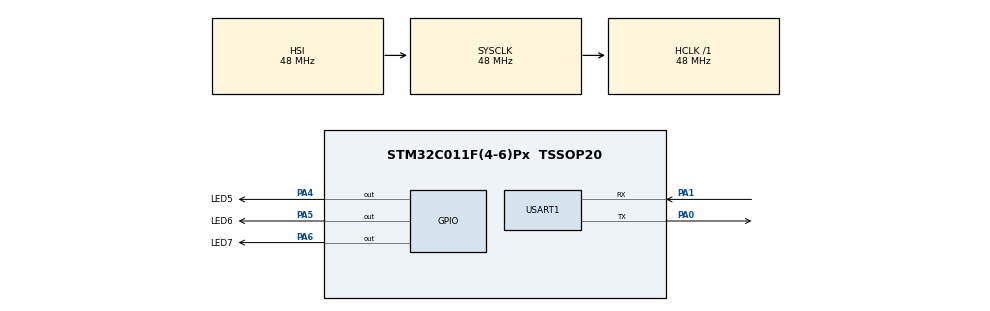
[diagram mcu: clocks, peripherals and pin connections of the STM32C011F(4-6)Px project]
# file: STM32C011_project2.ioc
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Mcu.Family=STM32C0
Mcu.Name=STM32C011F(4-6)Px
Mcu.Package=TSSOP20
PA0.Mode=Asynchronous
PA0.Signal=USART1_TX
PA1.Mode=Asynchronous
PA1.Signal=USART1_RX
PA4.GPIO_Label=LED5
PA4.Signal=GPIO_Output
PA5.GPIO_Label=LED6
PA5.Signal=GPIO_Output
PA6.GPIO_Label=LED7
PA6.Signal=GPIO_Output
ProjectManager.HeapSize=0x400
ProjectManager.StackSize=0x800
ProjectManager.TargetToolchain=MDK-ARM V5.37
RCC.ADCFreq_Value=48000000
RCC.AHBFreq_Value=48000000
RCC.CortexFreq_Value=48000000
RCC.EXTERNAL_CLOCK_VALUE=12288000
RCC.HCLKFreq_Value=48000000
RCC.HSE_VALUE=8000000
RCC.HSISYSCLKDivider=RCC_HSI_DIV1
RCC.HSI_VALUE=48000000
RCC.LSE_VALUE=32768
RCC.SYSCLKFreq_VALUE=48000000
USART1.VirtualMode-Asynchronous=VM_ASYNC
board=custom

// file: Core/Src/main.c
/* USER CODE BEGIN Header */
/**
  ******************************************************************************
  * @file           : main.c
  * @brief          : Main program body
  ******************************************************************************
  * @attention
  *
  * Copyright (c) 2024 STMicroelectronics.
  * All rights reserved.
  *
  * This software is licensed under terms that can be found in the LICENSE file
  * in the root directory of this software component.
  * If no LICENSE file comes with this software, it is provided AS-IS.
  *
  ******************************************************************************
  */
/* USER CODE END Header */
#include "main.h"
#include "usart.h"
#include "gpio.h"

/* USER CODE BEGIN Includes */
#include "stdio.h"
#include "stm32c0xx_hal.h"
/* USER CODE END Includes */

void SystemClock_Config(void);
/* USER CODE BEGIN PFP */
int fputc(int ch, FILE *f){
	HAL_UART_Transmit(&huart1 , (uint8_t *)&ch, 1, 0xFFFF);
	return ch;
}
/* USER CODE END PFP */

/* USER CODE BEGIN 0 */

static void Configure_nBOOT_SEL(uint8_t enable)
{
   FLASH_OBProgramInitTypeDef OBInit;

    // 读取当前 Option Bytes 配置
    HAL_FLASHEx_OBGetConfig(&OBInit);

    // 检查是否需要修改 nBOOT_SEL
    if (((OBInit.USERConfig & OB_USER_NBOOT_SEL) == OB_BOOT0_FROM_OB) != enable)
    {
        // 解锁 Flash
        if (HAL_FLASH_Unlock() == HAL_OK)
        {
            // 解锁 Option Bytes
            if (HAL_FLASH_OB_Unlock() == HAL_OK)
            {
                // 配置选项字节
                OBInit.OptionType = OPTIONBYTE_USER;
                OBInit.USERType = OB_USER_NBOOT_SEL;
                OBInit.USERConfig = enable ? OB_USER_NBOOT_SEL : 0;

                // 写入新的配置
                if (HAL_FLASHEx_OBProgram(&OBInit) != HAL_OK)
                {
                    printf("Error: Option Bytes Programming failed!\n");
                }

                // 启动 Option Bytes 配置
                if (HAL_FLASH_OB_Launch() != HAL_OK)
                {
                    printf("Error: Option Bytes Launch failed!\n");
                }

                // 锁定 Option Bytes 和 Flash
                HAL_FLASH_OB_Lock();
                HAL_FLASH_Lock();
            }
            else
            {
                printf("Error: Failed to unlock Option Bytes!\n");
            }
        }
        else
        {
            printf("Error: Failed to unlock Flash!\n");
        }
    }

    else
    {
        printf("nBOOT_SEL is already set to the desired value.\n");
    }

}
/* USER CODE END 0 */

int main(void)
{

  /* MCU Configuration--------------------------------------------------------*/

  /* Reset of all peripherals, Initializes the Flash interface and the Systick. */
  HAL_Init();

  /* Configure the system clock */
  SystemClock_Config();

  /* USER CODE BEGIN SysInit */
	HAL_Delay(100);
	Configure_nBOOT_SEL(0);
  /* USER CODE END SysInit */

  /* Initialize all configured peripherals */
  MX_GPIO_Init();
  MX_USART1_UART_Init();

  /* Infinite loop */
  /* USER CODE BEGIN WHILE */
  while (1)
  {
		HAL_GPIO_WritePin(LED5_GPIO_Port, LED5_Pin, GPIO_PIN_SET);
		HAL_GPIO_WritePin(LED6_GPIO_Port, LED6_Pin, GPIO_PIN_SET);
		HAL_GPIO_WritePin(LED7_GPIO_Port, LED7_Pin, GPIO_PIN_SET);
		printf("LED ON!\n");
		HAL_Delay(100);
		HAL_GPIO_WritePin(LED5_GPIO_Port, LED5_Pin, GPIO_PIN_RESET);
		HAL_GPIO_WritePin(LED6_GPIO_Port, LED6_Pin, GPIO_PIN_RESET);
		HAL_GPIO_WritePin(LED7_GPIO_Port, LED7_Pin, GPIO_PIN_RESET);
		printf("LED OFF!\n");
		HAL_Delay(100);

    /* USER CODE END WHILE */

  }
}

void SystemClock_Config(void)
{
  RCC_OscInitTypeDef RCC_OscInitStruct = {0};
  RCC_ClkInitTypeDef RCC_ClkInitStruct = {0};

  /** Initializes the RCC Oscillators according to the specified parameters
  * in the RCC_OscInitTypeDef structure.
  */
  RCC_OscInitStruct.OscillatorType = RCC_OSCILLATORTYPE_HSI;
  RCC_OscInitStruct.HSIState = RCC_HSI_ON;
  RCC_OscInitStruct.HSIDiv = RCC_HSI_DIV1;
  RCC_OscInitStruct.HSICalibrationValue = RCC_HSICALIBRATION_DEFAULT;
  if (HAL_RCC_OscConfig(&RCC_OscInitStruct) != HAL_OK)
  {
    Error_Handler();
  }

  /** Initializes the CPU, AHB and APB buses clocks
  */
  RCC_ClkInitStruct.ClockType = RCC_CLOCKTYPE_HCLK|RCC_CLOCKTYPE_SYSCLK
                              |RCC_CLOCKTYPE_PCLK1;
  RCC_ClkInitStruct.SYSCLKSource = RCC_SYSCLKSOURCE_HSI;
  RCC_ClkInitStruct.SYSCLKDivider = RCC_SYSCLK_DIV1;
  RCC_ClkInitStruct.AHBCLKDivider = RCC_HCLK_DIV1;
  RCC_ClkInitStruct.APB1CLKDivider = RCC_APB1_DIV1;

  if (HAL_RCC_ClockConfig(&RCC_ClkInitStruct, FLASH_LATENCY_1) != HAL_OK)
  {
    Error_Handler();
  }
}

void Error_Handler(void)
{
  __disable_irq();
  while (1)
  {
  }
}
